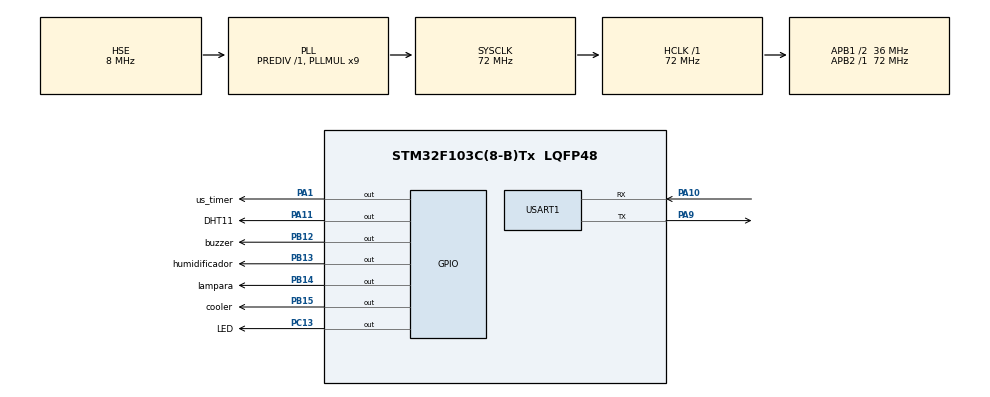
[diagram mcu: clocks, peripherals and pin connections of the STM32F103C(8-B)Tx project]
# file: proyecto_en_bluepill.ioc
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Mcu.Family=STM32F1
RCC.PLLSourceVirtual=RCC_PLLSOURCE_HSE
PD1-OSC_OUT.Mode=HSE-External-Oscillator
PA10.Mode=Asynchronous
PB14.GPIO_Label=lampara
PC13-TAMPER-RTC.Signal=GPIO_Output
PA11.GPIO_Label=DHT11
PD0-OSC_IN.Signal=RCC_OSC_IN
RCC.APB1CLKDivider=RCC_HCLK_DIV2
PB13.GPIO_Label=humidificador
PB15.Signal=GPIO_Output
PB13.Signal=GPIO_Output
RCC.SYSCLKSource=RCC_SYSCLKSOURCE_PLLCLK
ProjectManager.StackSize=0x400
PD1-OSC_OUT.Signal=RCC_OSC_OUT
PA13.Signal=SYS_JTMS-SWDIO
PA9.Mode=Asynchronous
TIM1.Prescaler=72-1
ProjectManager.TargetToolchain=STM32CubeIDE
RCC.HCLKFreq_Value=72000000
RCC.APB2TimFreq_Value=72000000
PA9.Signal=USART1_TX
PB12.PinState=GPIO_PIN_RESET
RCC.USBFreq_Value=72000000
PA1.Signal=GPIO_Output
RCC.AHBFreq_Value=72000000
PD0-OSC_IN.Mode=HSE-External-Oscillator
PB14.Signal=GPIO_Output
board=custom
PC13-TAMPER-RTC.GPIO_Label=LED
RCC.PLLMUL=RCC_PLL_MUL9
PB12.GPIO_Label=buzzer
RCC.APB2Freq_Value=72000000
PB15.GPIO_Label=cooler
PA14.Mode=Serial_Wire
PA1.GPIO_Label=us_timer
PA13.Mode=Serial_Wire
Mcu.Name=STM32F103C(8-B)Tx
VP_TIM1_VS_ClockSourceINT.Mode=Internal
RCC.SYSCLKFreq_VALUE=72000000
Mcu.Package=LQFP48
USART1.VirtualMode=VM_ASYNC
PA11.Signal=GPIO_Output
PA10.Signal=USART1_RX
PA14.Signal=SYS_JTCK-SWCLK
ProjectManager.HeapSize=0x200
NVIC.PriorityGroup=NVIC_PRIORITYGROUP_4
RCC.APB1TimFreq_Value=72000000
TIM1.Period=0xFFFF-1
RCC.APB1Freq_Value=36000000
PB12.Signal=GPIO_Output

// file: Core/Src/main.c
/* USER CODE BEGIN Header */
/**
  ******************************************************************************
  * @file           : main.c
  * @brief          : Main program body
  ******************************************************************************
  * @attention
  *ºººººººººººººººººº
  * <h2><center>&copy; Copyright (c) 2025 STMicroelectronics.
  * All rights reserved.</center></h2>
  *
  * This software component is licensed by ST under BSD 3-Clause license,
  * the "License"; You may not use this file except in compliance with the
  * License. You may obtain a copy of the License at:
  *                        opensource.org/licenses/BSD-3-Clause
  *
  ******************************************************************************
  */
/* USER CODE END Header */
#include "main.h"

/* USER CODE BEGIN Includes */
#include "dht11.h"
#include "rele.h"
#include "logica.h"
#include "config.h"
#include <string.h>
#include <stdio.h>
/* USER CODE END Includes */

TIM_HandleTypeDef htim1;

UART_HandleTypeDef huart1;

void SystemClock_Config(void);
static void MX_GPIO_Init(void);
static void MX_TIM1_Init(void);
static void MX_USART1_UART_Init(void);

/* USER CODE BEGIN 0 */
void delay_us (uint16_t us)
{
	__HAL_TIM_SET_COUNTER(&htim1,0);  // set the counter value a 0
	while (__HAL_TIM_GET_COUNTER(&htim1) < us);// wait for the counter to reach the us input in the parameter
}
/* USER CODE END 0 */

int main(void)
{

  /* MCU Configuration--------------------------------------------------------*/

  /* Reset of all peripherals, Initializes the Flash interface and the Systick. */
  HAL_Init();

  /* Configure the system clock */
  SystemClock_Config();

  /* Initialize all configured peripherals */
  MX_GPIO_Init();
  MX_TIM1_Init();
  MX_USART1_UART_Init();

  /* Infinite loop */
  /* USER CODE BEGIN WHILE */
  DHT11_Init();
  RELES_Init();

  uint32_t humedad = 0;
  uint32_t temperatura = 0;
  uint32_t (*data);

  char msg[64];
  uint32_t num = 0;
  // Hacer un wifi init en vez de este asco de codigo suelto:
  /* Configuracion red wifi
   * Al iniciarse el ESP32 queda esperando 2 minutos a que le llegen los datos
   * de nombre de red, contraseña y ID de chat del telegram.
   */
  HAL_Delay(1000); //Espero a que se inicie el modulo wifi
  //int len = snprintf(msg, sizeof(msg), "%s,%s,%s\n", ssid, password, chat_id);
  int config = snprintf(msg, sizeof(msg), "%s,%s,%s\n", ssid, password, chat_id);
  HAL_UART_Transmit(&huart1, (uint8_t*)msg, config, 1000);
    while (1)
    {
    /* USER CODE END WHILE */

    /* USER CODE BEGIN 3 */
		data = DHT11_GetTempHumedad();
		humedad = data[0];
		temperatura = data[1];
		//control_parametros(temperatura, humedad); //Mde
		//control_alarma(temperatura, humedad); 	//Mde
		int len = snprintf(msg, sizeof(msg), "%012lu - Humedad: %012lu - Temp: %012lu\r\n", HAL_GetTick(), humedad, temperatura);
		HAL_UART_Transmit(&huart1, (uint8_t*)msg, len, 1000);

		HAL_GPIO_TogglePin(LED_GPIO_Port, LED_Pin);
		RELES_ToggleTodos();
		HAL_Delay(1000);
//		RELES_ToggleTodos();
//		HAL_Delay(1000);
		num++;
    }
  /* USER CODE END 3 */
}

void SystemClock_Config(void)
{
  RCC_OscInitTypeDef RCC_OscInitStruct = {0};
  RCC_ClkInitTypeDef RCC_ClkInitStruct = {0};

  /** Initializes the RCC Oscillators according to the specified parameters
  * in the RCC_OscInitTypeDef structure.
  */
  RCC_OscInitStruct.OscillatorType = RCC_OSCILLATORTYPE_HSE;
  RCC_OscInitStruct.HSEState = RCC_HSE_ON;
  RCC_OscInitStruct.HSEPredivValue = RCC_HSE_PREDIV_DIV1;
  RCC_OscInitStruct.HSIState = RCC_HSI_ON;
  RCC_OscInitStruct.PLL.PLLState = RCC_PLL_ON;
  RCC_OscInitStruct.PLL.PLLSource = RCC_PLLSOURCE_HSE;
  RCC_OscInitStruct.PLL.PLLMUL = RCC_PLL_MUL9;
  if (HAL_RCC_OscConfig(&RCC_OscInitStruct) != HAL_OK)
  {
    Error_Handler();
  }
  /** Initializes the CPU, AHB and APB buses clocks
  */
  RCC_ClkInitStruct.ClockType = RCC_CLOCKTYPE_HCLK|RCC_CLOCKTYPE_SYSCLK
                              |RCC_CLOCKTYPE_PCLK1|RCC_CLOCKTYPE_PCLK2;
  RCC_ClkInitStruct.SYSCLKSource = RCC_SYSCLKSOURCE_PLLCLK;
  RCC_ClkInitStruct.AHBCLKDivider = RCC_SYSCLK_DIV1;
  RCC_ClkInitStruct.APB1CLKDivider = RCC_HCLK_DIV2;
  RCC_ClkInitStruct.APB2CLKDivider = RCC_HCLK_DIV1;

  if (HAL_RCC_ClockConfig(&RCC_ClkInitStruct, FLASH_LATENCY_2) != HAL_OK)
  {
    Error_Handler();
  }
}

static void MX_TIM1_Init(void)
{

  TIM_ClockConfigTypeDef sClockSourceConfig = {0};
  TIM_MasterConfigTypeDef sMasterConfig = {0};

  htim1.Instance = TIM1;
  htim1.Init.Prescaler = 72-1;
  htim1.Init.CounterMode = TIM_COUNTERMODE_UP;
  htim1.Init.Period = 0xFFFF-1;
  htim1.Init.ClockDivision = TIM_CLOCKDIVISION_DIV1;
  htim1.Init.RepetitionCounter = 0;
  htim1.Init.AutoReloadPreload = TIM_AUTORELOAD_PRELOAD_DISABLE;
  if (HAL_TIM_Base_Init(&htim1) != HAL_OK)
  {
    Error_Handler();
  }
  sClockSourceConfig.ClockSource = TIM_CLOCKSOURCE_INTERNAL;
  if (HAL_TIM_ConfigClockSource(&htim1, &sClockSourceConfig) != HAL_OK)
  {
    Error_Handler();
  }
  sMasterConfig.MasterOutputTrigger = TIM_TRGO_RESET;
  sMasterConfig.MasterSlaveMode = TIM_MASTERSLAVEMODE_DISABLE;
  if (HAL_TIMEx_MasterConfigSynchronization(&htim1, &sMasterConfig) != HAL_OK)
  {
    Error_Handler();
  }

}

static void MX_USART1_UART_Init(void)
{

  huart1.Instance = USART1;
  huart1.Init.BaudRate = 115200;
  huart1.Init.WordLength = UART_WORDLENGTH_8B;
  huart1.Init.StopBits = UART_STOPBITS_1;
  huart1.Init.Parity = UART_PARITY_NONE;
  huart1.Init.Mode = UART_MODE_TX_RX;
  huart1.Init.HwFlowCtl = UART_HWCONTROL_NONE;
  huart1.Init.OverSampling = UART_OVERSAMPLING_16;
  if (HAL_UART_Init(&huart1) != HAL_OK)
  {
    Error_Handler();
  }

}

static void MX_GPIO_Init(void)
{
  GPIO_InitTypeDef GPIO_InitStruct = {0};

  /* GPIO Ports Clock Enable */
  __HAL_RCC_GPIOC_CLK_ENABLE();
  __HAL_RCC_GPIOD_CLK_ENABLE();
  __HAL_RCC_GPIOA_CLK_ENABLE();
  __HAL_RCC_GPIOB_CLK_ENABLE();

  /*Configure GPIO pin Output Level */
  HAL_GPIO_WritePin(LED_GPIO_Port, LED_Pin, GPIO_PIN_RESET);

  /*Configure GPIO pin Output Level */
  HAL_GPIO_WritePin(GPIOA, us_timer_Pin|DHT11_Pin, GPIO_PIN_RESET);

  /*Configure GPIO pin Output Level */
  HAL_GPIO_WritePin(GPIOB, buzzer_Pin|humidificador_Pin|lampara_Pin|cooler_Pin, GPIO_PIN_RESET);

  /*Configure GPIO pin : LED_Pin */
  GPIO_InitStruct.Pin = LED_Pin;
  GPIO_InitStruct.Mode = GPIO_MODE_OUTPUT_PP;
  GPIO_InitStruct.Pull = GPIO_NOPULL;
  GPIO_InitStruct.Speed = GPIO_SPEED_FREQ_LOW;
  HAL_GPIO_Init(LED_GPIO_Port, &GPIO_InitStruct);

  /*Configure GPIO pins : us_timer_Pin DHT11_Pin */
  GPIO_InitStruct.Pin = us_timer_Pin|DHT11_Pin;
  GPIO_InitStruct.Mode = GPIO_MODE_OUTPUT_PP;
  GPIO_InitStruct.Pull = GPIO_NOPULL;
  GPIO_InitStruct.Speed = GPIO_SPEED_FREQ_LOW;
  HAL_GPIO_Init(GPIOA, &GPIO_InitStruct);

  /*Configure GPIO pins : buzzer_Pin humidificador_Pin lampara_Pin cooler_Pin */
  GPIO_InitStruct.Pin = buzzer_Pin|humidificador_Pin|lampara_Pin|cooler_Pin;
  GPIO_InitStruct.Mode = GPIO_MODE_OUTPUT_PP;
  GPIO_InitStruct.Pull = GPIO_NOPULL;
  GPIO_InitStruct.Speed = GPIO_SPEED_FREQ_LOW;
  HAL_GPIO_Init(GPIOB, &GPIO_InitStruct);

}

void Error_Handler(void)
{
  __disable_irq();
  while (1)
  {
  }
}

/************************ (C) COPYRIGHT STMicroelectronics *****END OF FILE****/
